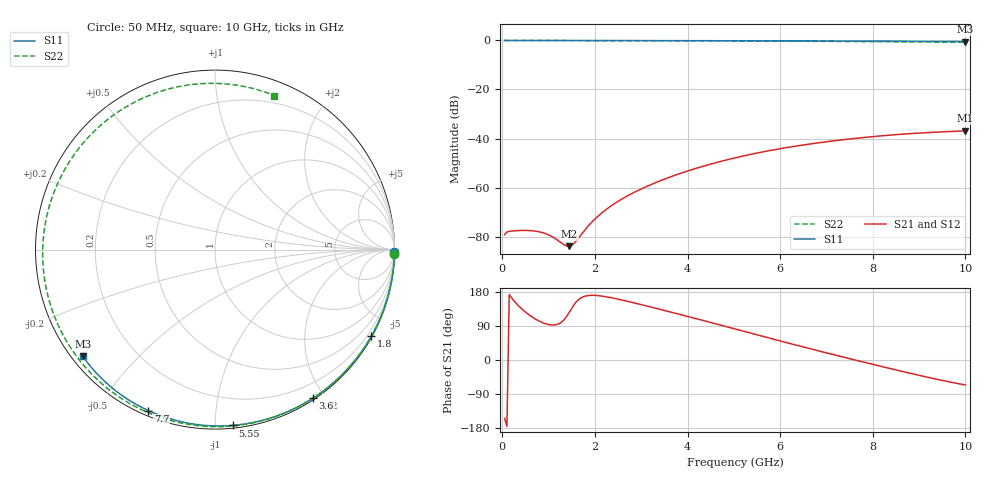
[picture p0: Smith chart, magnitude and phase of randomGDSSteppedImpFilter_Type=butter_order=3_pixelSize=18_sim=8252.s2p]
! freq	dB(S11)	phase(S11)	dB(S12)	phase(S12)
!  dB(S21)	phase(S21)	dB(S22)	phase(S22)
!S-par simulation data
#  GHz  S  DB  R 50
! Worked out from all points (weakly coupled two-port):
!   200 points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, 50 MHz to 10 GHz, reference 50 ohm
!   highest |S21| = -36.86 dB at 10 GHz (marker M1); lowest = -83.9 dB at 1.45 GHz (marker M2)
!   lowest |S11| = -0.5 dB at 10 GHz (marker M3), VSWR 36.57, Z = 1.54 - j17.7 ohm
!   |S11| at or under -10 dB: nowhere
!   |S22| runs from -0.7 to 0.0 dB; largest |S21 - S12| = 0
!   S11 on the Smith chart (normalised r, x): 50 MHz: open; 1.8 GHz: 0.03, -3.87; 3.6 GHz: 0.02, -1.86; 5.55 GHz: 0.02, -1.10; 7.7 GHz: 0.02, -0.67; 10 GHz: 0.03, -0.35
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0.05  -0.00 -0.8  -79.20 -154.0  -79.20 -154.0  -0.00 -1.4
0.15  -0.00 -2.5  -77.87 173.1  -77.87 173.1  -0.00 -4.2
0.55  -0.01 -9.0  -77.51 121.7  -77.51 121.7  -0.01 -15.4
1.1  -0.02 -17.8  -80.31 92.3  -80.31 92.3  -0.04 -30.6
1.45  -0.03 -23.4  -83.92 126.7  -83.92 126.7  -0.05 -40.2
1.65  -0.03 -26.6  -80.49 159.6  -80.49 159.6  -0.06 -45.6
1.75  -0.04 -28.2  -78.06 166.9  -78.06 166.9  -0.06 -48.3
1.8  -0.04 -29.0  -76.90 168.8  -76.90 168.8  -0.06 -49.6
2.1  -0.04 -33.7  -71.13 169.5  -71.13 169.5  -0.07 -57.6
2.45  -0.05 -39.1  -66.23 161.9  -66.23 161.9  -0.09 -66.8
3.4  -0.07 -53.6  -57.32 133.9  -57.32 133.9  -0.12 -91.3
3.6  -0.08 -56.6  -55.87 127.7  -55.87 127.7  -0.13 -96.3
4.3  -0.09 -66.8  -51.51 105.5  -51.51 105.5  -0.16 -113.9
5.05  -0.12 -77.4  -47.78 81.2  -47.78 81.2  -0.20 -132.7
5.55  -0.14 -84.3  -45.74 64.9  -45.74 64.9  -0.24 -145.4
6.7  -0.19 -99.7  -42.09 28.1  -42.09 28.1  -0.34 -176.0
7.2  -0.23 -106.1  -40.85 12.7  -40.85 12.7  -0.39 169.6
7.7  -0.26 -112.5  -39.79 -2.5  -39.79 -2.5  -0.45 154.3
8.35  -0.31 -120.6  -38.65 -21.8  -38.65 -21.8  -0.53 132.8
9.25  -0.39 -131.8  -37.52 -47.3  -37.52 -47.3  -0.64 99.5
9.65  -0.44 -136.7  -37.15 -57.7  -37.15 -57.7  -0.68 83.4
10  -0.48 -141.0  -36.86 -66.0  -36.86 -66.0  -0.72 68.9
